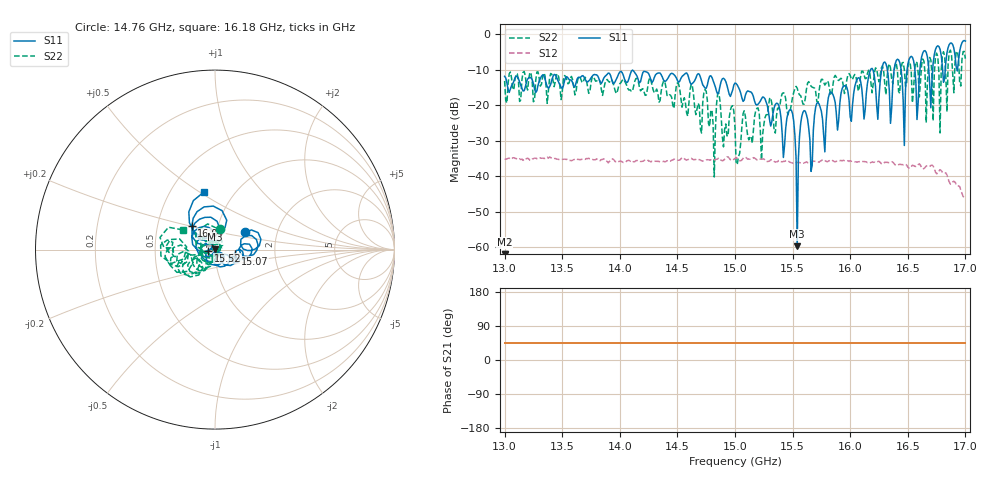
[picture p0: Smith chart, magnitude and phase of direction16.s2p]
!Keysight Technologies,P9374A,MY57211810,A.19.30.04
!Date: Friday, May 02, 2025 09:02:00
!Correction: S11(Off)
!S21(Off)
!S12(Off)
!S22(Off)
!S2P File: Measurements: S11, S21, S12, S22:
# Hz S  dB  R 50
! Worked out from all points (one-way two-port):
!   401 points, 13 GHz to 17 GHz, reference 50 ohm
!   highest |S21| = - dB at 13 GHz (marker M1); lowest = - dB at 13 GHz (marker M2)
!   lowest |S11| = -59.7 dB at 15.54 GHz (marker M3), VSWR 1.00, Z = 50.1 + j0.0567 ohm
!   |S11| at or under -10 dB: start of sweep to 16.18 GHz; 16.19702 GHz to 16.27346 GHz (76.44 MHz wide, 0.471 % of centre); 16.32236 GHz to 16.38126 GHz (58.9 MHz wide, 0.36 % of centre) (the widest 3 of 8)
!   |S22| runs from -40.2 to -4.4 dB; largest |S21 - S12| = 0.019
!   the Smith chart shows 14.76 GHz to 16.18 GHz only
!   S11 on the Smith chart (normalised r, x): 14.76 GHz: 1.37, +0.27; 15.07 GHz: 1.25, -0.06; 15.52 GHz: 0.93, -0.01; 16.04 GHz: 0.75, +0.21; 16.18 GHz: 0.73, +0.52
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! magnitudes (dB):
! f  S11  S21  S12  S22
! 13 GHz  -11.8  -  -35.2  -13.1
! 13.67 GHz  -11.7  -  -35.2  -13.3
! 14.34 GHz  -10.9  -  -35.8  -19.1
! 14.76 GHz  -14.3  -  -35.3  -18.6
! 15 GHz  -13.7  -  -34.9  -26.3
! 15.03 GHz  -14.9  -  -35.2  -34.4
! 15.07 GHz  -18.9  -  -34.9  -22.4
! 15.42 GHz  -34.7  -  -35.8  -16.4
! 15.48 GHz  -21.2  -  -36.0  -21.3
! 15.52 GHz  -28.4  -  -36.1  -15.3
! 15.54 GHz  -59.7  -  -36.1  -15.1
! 15.6 GHz  -21.5  -  -36.2  -19.6
! 15.67 GHz  -36.8  -  -35.9  -14.9
! 15.72 GHz  -19.2  -  -35.9  -19.2
! 16.04 GHz  -14.7  -  -35.9  -11.3
! 16.18 GHz  -9.7  -  -36.1  -13.6
! 16.34 GHz  -15.9  -  -36.1  -8.3
! 16.41 GHz  -7.0  -  -36.9  -10.2
! 16.47 GHz  -31.3  -  -36.7  -9.9
! 16.52 GHz  -6.4  -  -37.7  -7.9
! 16.58 GHz  -24.0  -  -37.0  -8.0
! 17 GHz  -1.9  -  -46.3  -6.8
